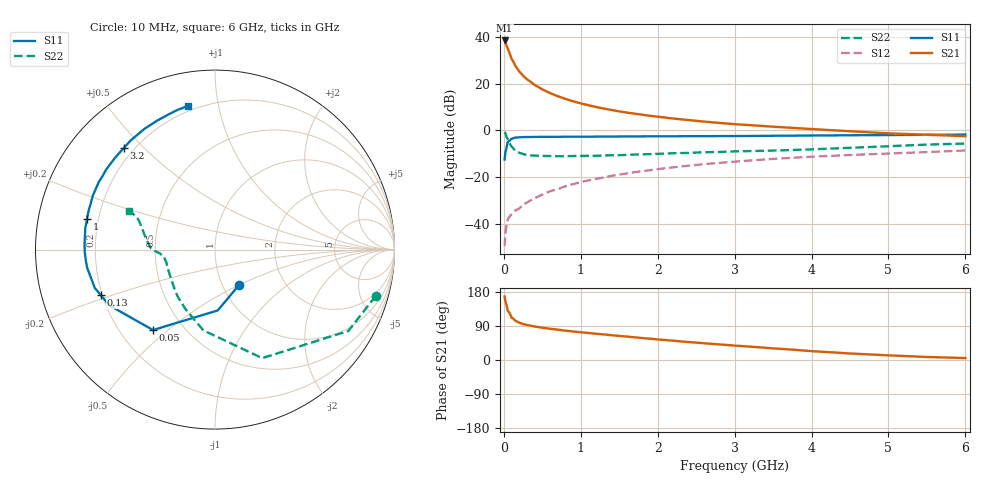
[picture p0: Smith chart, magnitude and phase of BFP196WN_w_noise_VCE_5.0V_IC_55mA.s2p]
! (c) 2017  Infineon Technologies AG, Munich
! Infineon Technologies  Discrete & RF Semiconductors
! BFP196WN
! VCE =  5.0 V,  IC =  55 mA
! Common Emitter S-Parameters:  Jan 2017
# GHz  S  MA  R  50
!  f  S11  S21  S12  S22
! GHz  MAG  ANG  MAG  ANG  MAG  ANG  MAG  ANG
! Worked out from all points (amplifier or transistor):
!   77 points, 10 MHz to 6 GHz, reference 50 ohm
!   highest |S21| = 38.6 dB at 10 MHz (marker M1)
!   |S21| within 3 dB of that: start of sweep to 44.17 MHz
!   unconditionally stable (mu >= 1): 624.1 MHz to 2.643 GHz
!   at 130 MHz: K = 0.57, MSG = 32.0 dB, |S12| = -34.9 dB
!   at 2.2 GHz: K = 1.02, MAG = 9.6 dB, |S12| = -15.8 dB
!   at 6 GHz: K = 0.91, MSG = 3.1 dB, |S12| = -8.6 dB
!   lowest NFmin = 1.34 dB at 450 MHz
!   S11 on the Smith chart (normalised r, x): 10 MHz: 1.20, -0.50; 50 MHz: 0.34, -0.45; 130 MHz: 0.19, -0.18; 1 GHz: 0.16, +0.12; 3.2 GHz: 0.16, +0.44; 6 GHz: 0.17, +0.82
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0.01  0.2376 -55.2  84.89 167.6  0.0033 78.7  0.9325 -16.0
0.02  0.3392 -87.4  77.54 155.0  0.0061 71.9  0.8703 -31.4
0.05  0.5658 -127.6  57 130.2  0.0123 53.2  0.6594 -66.5
0.1  0.6652 -152.1  34.48 111.9  0.016 49.1  0.4547 -98.2
0.13  0.6852 -158.3  28.26 107.6  0.018 49.4  0.398 -108.4
0.15  0.7028 -162.2  24.24 103.6  0.0193 49.5  0.3689 -116.7
0.2  0.7102 -168.0  18.47 98.6  0.0212 55.3  0.3331 -128.9
0.25  0.7193 -171.8  14.92 95.0  0.0254 56.2  0.3121 -136.7
0.3  0.722 -174.8  12.5 92.5  0.0284 59.9  0.2986 -143.4
0.4  0.7262 -179.1  9.453 88.3  0.0352 63.5  0.2879 -151.3
0.5  0.7272 177.7  7.574 85.2  0.042 65.5  0.284 -156.9
0.6  0.7284 175.1  6.329 82.4  0.0495 66.7  0.2826 -161.0
0.8  0.7326 170.4  4.748 77.5  0.0635 68.8  0.2805 -165.7
1  0.7343 166.4  3.804 73.2  0.0777 69.0  0.2841 -169.2
1.1  0.735 164.7  3.463 71.3  0.0849 68.8  0.2852 -170.5
1.5  0.741 157.9  2.562 63.6  0.113 67.2  0.2953 -174.1
2.1  0.7486 148.3  1.884 52.7  0.1548 63.4  0.3192 -177.2
3.1  0.7588 133.4  1.331 36.7  0.2202 55.3  0.3586 178.3
3.2  0.7606 132.0  1.298 35.3  0.2264 54.4  0.3613 177.6
4.1  0.78 119.2  1.048 22.2  0.2777 46.7  0.3986 168.8
5.1  0.7975 108.4  0.854 11.4  0.3242 39.1  0.4658 158.1
6  0.8146 100.5  0.751 5.1  0.3716 33.1  0.5227 155.7
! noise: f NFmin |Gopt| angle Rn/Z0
0.45  1.34  0.54  -177  0.05
0.9  1.44  0.57  -170  0.06
1.9  2.36  0.69  -147  0.17
2.4  3.11  0.7  -140  0.29
